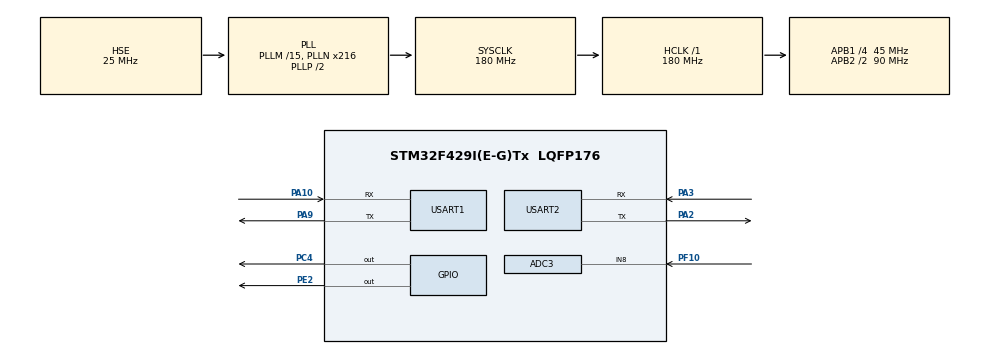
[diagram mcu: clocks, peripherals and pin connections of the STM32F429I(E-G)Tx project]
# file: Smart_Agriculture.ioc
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ADC3.Channel-0\#ChannelRegularConversion=ADC_CHANNEL_8
ADC3.NbrOfConversionFlag=1
ADC3.Rank-0\#ChannelRegularConversion=1
ADC3.SamplingTime-0\#ChannelRegularConversion=ADC_SAMPLETIME_3CYCLES
Mcu.Family=STM32F4
Mcu.Name=STM32F429I(E-G)Tx
Mcu.Package=LQFP176
NVIC.PriorityGroup=NVIC_PRIORITYGROUP_4
NVIC.USART1_IRQn=true\:0\:0\:false\:false\:true\:true\:true\:true
NVIC.USART2_IRQn=true\:0\:0\:false\:false\:true\:true\:true\:true
PA10.Mode=Asynchronous
PA10.Signal=USART1_RX
PA2.Mode=Asynchronous
PA2.Signal=USART2_TX
PA3.Mode=Asynchronous
PA3.Signal=USART2_RX
PA9.Mode=Asynchronous
PA9.Signal=USART1_TX
PC4.Signal=GPIO_Output
PE2.PinState=GPIO_PIN_SET
PE2.Signal=GPIO_Output
PF10.Mode=IN8
PF10.Signal=ADC3_IN8
PH0/OSC_IN.Mode=HSE-External-Oscillator
PH0/OSC_IN.Signal=RCC_OSC_IN
PH1/OSC_OUT.Mode=HSE-External-Oscillator
PH1/OSC_OUT.Signal=RCC_OSC_OUT
ProjectManager.HeapSize=0x200
ProjectManager.StackSize=0x400
ProjectManager.TargetToolchain=MDK-ARM V5.32
RCC.48MHZClocksFreq_Value=90000000
RCC.AHBFreq_Value=180000000
RCC.APB1CLKDivider=RCC_HCLK_DIV4
RCC.APB1Freq_Value=45000000
RCC.APB1TimFreq_Value=90000000
RCC.APB2CLKDivider=RCC_HCLK_DIV2
RCC.APB2Freq_Value=90000000
RCC.APB2TimFreq_Value=180000000
RCC.CortexFreq_Value=180000000
RCC.HCLKFreq_Value=180000000
RCC.HSE_VALUE=25000000
RCC.HSI_VALUE=16000000
RCC.LSE_VALUE=32768
RCC.PLLM=15
RCC.PLLN=216
RCC.PLLSourceVirtual=RCC_PLLSOURCE_HSE
RCC.SYSCLKFreq_VALUE=180000000
RCC.SYSCLKSource=RCC_SYSCLKSOURCE_PLLCLK
RCC.VCOOutputFreq_Value=360000000
TIM7.Period=1
TIM7.Prescaler=89
USART1.VirtualMode=VM_ASYNC
USART2.VirtualMode=VM_ASYNC
VP_TIM7_VS_ClockSourceINT.Mode=Enable_Timer
board=custom

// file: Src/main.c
/* USER CODE BEGIN Header */
/**
  ******************************************************************************
  * @file           : main.c
  * @brief          : Main program body
  ******************************************************************************
  * @attention
  *
  * <h2><center>&copy; Copyright (c) 2024 STMicroelectronics.
  * All rights reserved.</center></h2>
  *
  * This software component is licensed by ST under BSD 3-Clause license,
  * the "License"; You may not use this file except in compliance with the
  * License. You may obtain a copy of the License at:
  *                        opensource.org/licenses/BSD-3-Clause
  *
  ******************************************************************************
  */
/* USER CODE END Header */
#include "main.h"
#include "adc.h"
#include "tim.h"
#include "usart.h"
#include "gpio.h"

/* USER CODE BEGIN Includes */
#include <stdio.h>
#include "oled.h"
#include "i2c_hal.h"
#include <string.h>
#include <stdlib.h>
/* USER CODE END Includes */

/* USER CODE BEGIN PV */
unsigned char Motor_flag = 0;
unsigned char buffer[3] = {0};
float threshold = 2.0;
/* USER CODE END PV */

void SystemClock_Config(void);
/* USER CODE BEGIN PFP */
void HAL_UART_RxCpltCallback(UART_HandleTypeDef *huart)
{
  if(huart->Instance == USART1)
	{
		threshold = (100 - atoi((char*)buffer)) / 100.0 * 3.3;
		char buffer3[17] = {0};
		snprintf(buffer3,sizeof(buffer3),"now:   %.2fV \n",threshold);
//		HAL_UART_Transmit(&huart1,(uint8_t *)buffer,sizeof(buffer),1000);
		HAL_UART_Transmit(&huart1,(uint8_t *)buffer3,sizeof(buffer3),1000);
		HAL_UART_Receive_IT(&huart1,buffer,2);
	}
}
/* USER CODE END PFP */

/* USER CODE BEGIN 0 */
void MotorStart(float volt)
{
	// 使用静态变量存储上一次调用的时间
	static uint32_t LastStartTime = 0;
	uint32_t CurrentTime = HAL_GetTick();

	if(Motor_flag == 0)
	{
		if(CurrentTime > LastStartTime + 3000 && CurrentTime < LastStartTime + 10000)
			return;
		else if(CurrentTime > LastStartTime + 10000 && volt < threshold)
		{
			HAL_GPIO_WritePin(GPIOE, GPIO_PIN_2, GPIO_PIN_RESET);
			LastStartTime = CurrentTime;
			Motor_flag = 1;
			return;
		}
		else
			return;
	}
	else if(Motor_flag == 1)
	{
		if(CurrentTime < LastStartTime + 3000 )
			return;
		else if(CurrentTime > LastStartTime + 3000 )
		{
			HAL_GPIO_WritePin(GPIOE, GPIO_PIN_2, GPIO_PIN_SET);
			Motor_flag = 0;
			return;
		}
	}
}

/* USER CODE END 0 */

int main(void)
{

  /* MCU Configuration--------------------------------------------------------*/

  /* Reset of all peripherals, Initializes the Flash interface and the Systick. */
  HAL_Init();

  /* Configure the system clock */
  SystemClock_Config();

  /* Initialize all configured peripherals */
  MX_GPIO_Init();
  MX_TIM7_Init();
  MX_USART1_UART_Init();
  MX_ADC3_Init();
  MX_USART2_UART_Init();
  /* USER CODE BEGIN 2 */
  IIC_Init();
  OLED_Init();

  OLED_Clear();

//	OLED_ShowString(0,0, (uint8_t *)"Hello World!", 15);
//	OLED_ShowString(0,10, (uint8_t *)"Festival Happy!", 15);
//	OLED_ShowString(0,12, (uint8_t *)"Weekend Happy!", 15);
//	OLED_ShowString(0,14, (uint8_t *)"Week Happy!", 15);
  /* USER CODE END 2 */

  /* Infinite loop */
  /* USER CODE BEGIN WHILE */
	HAL_UART_Receive_IT(&huart1,buffer,2);
  while (1)
  {
		//启动ADC常规序列
		HAL_ADC_Start(&hadc3);
		//轮询等待常规序列转换完成
		HAL_ADC_PollForConversion(&hadc3,HAL_MAX_DELAY);

		//获取常规序列转换结果
		uint32_t result = HAL_ADC_GetValue(&hadc3);
		//result 范围是0 - 4096 正好对应电压是0-3.3V
		float volt = result/4096.0 * 3.3;
		int percent =100 -  volt/3.3 * 100.0;

		char buffer[17] = {0};
		snprintf(buffer,sizeof(buffer),"result:%.2fV ",volt);
		OLED_ShowString(0,0, (uint8_t *)buffer, 15);
		char buffer2[17] = {0};
		snprintf(buffer2,sizeof(buffer2),"       %d%%     \n",percent);
		OLED_ShowString(0,10, (uint8_t *)buffer2, 15);
		HAL_UART_Transmit(&huart1,(uint8_t *)buffer,sizeof(buffer),1000);
		HAL_UART_Transmit(&huart1,(uint8_t *)buffer2,sizeof(buffer2),1000);
		MotorStart(volt);
		HAL_Delay(1000);

//		if(volt<2)
//			HAL_GPIO_WritePin(GPIOE,GPIO_PIN_2,GPIO_PIN_RESET);
//		else
//			HAL_GPIO_WritePin(GPIOE,GPIO_PIN_2,GPIO_PIN_SET);

    /* USER CODE END WHILE */

  }
}

void SystemClock_Config(void)
{
  RCC_OscInitTypeDef RCC_OscInitStruct = {0};
  RCC_ClkInitTypeDef RCC_ClkInitStruct = {0};

  /** Configure the main internal regulator output voltage
  */
  __HAL_RCC_PWR_CLK_ENABLE();
  __HAL_PWR_VOLTAGESCALING_CONFIG(PWR_REGULATOR_VOLTAGE_SCALE1);

  /** Initializes the RCC Oscillators according to the specified parameters
  * in the RCC_OscInitTypeDef structure.
  */
  RCC_OscInitStruct.OscillatorType = RCC_OSCILLATORTYPE_HSE;
  RCC_OscInitStruct.HSEState = RCC_HSE_ON;
  RCC_OscInitStruct.PLL.PLLState = RCC_PLL_ON;
  RCC_OscInitStruct.PLL.PLLSource = RCC_PLLSOURCE_HSE;
  RCC_OscInitStruct.PLL.PLLM = 15;
  RCC_OscInitStruct.PLL.PLLN = 216;
  RCC_OscInitStruct.PLL.PLLP = RCC_PLLP_DIV2;
  RCC_OscInitStruct.PLL.PLLQ = 4;
  if (HAL_RCC_OscConfig(&RCC_OscInitStruct) != HAL_OK)
  {
    Error_Handler();
  }

  /** Activate the Over-Drive mode
  */
  if (HAL_PWREx_EnableOverDrive() != HAL_OK)
  {
    Error_Handler();
  }

  /** Initializes the CPU, AHB and APB buses clocks
  */
  RCC_ClkInitStruct.ClockType = RCC_CLOCKTYPE_HCLK|RCC_CLOCKTYPE_SYSCLK
                              |RCC_CLOCKTYPE_PCLK1|RCC_CLOCKTYPE_PCLK2;
  RCC_ClkInitStruct.SYSCLKSource = RCC_SYSCLKSOURCE_PLLCLK;
  RCC_ClkInitStruct.AHBCLKDivider = RCC_SYSCLK_DIV1;
  RCC_ClkInitStruct.APB1CLKDivider = RCC_HCLK_DIV4;
  RCC_ClkInitStruct.APB2CLKDivider = RCC_HCLK_DIV2;

  if (HAL_RCC_ClockConfig(&RCC_ClkInitStruct, FLASH_LATENCY_5) != HAL_OK)
  {
    Error_Handler();
  }
}

void Error_Handler(void)
{
}
